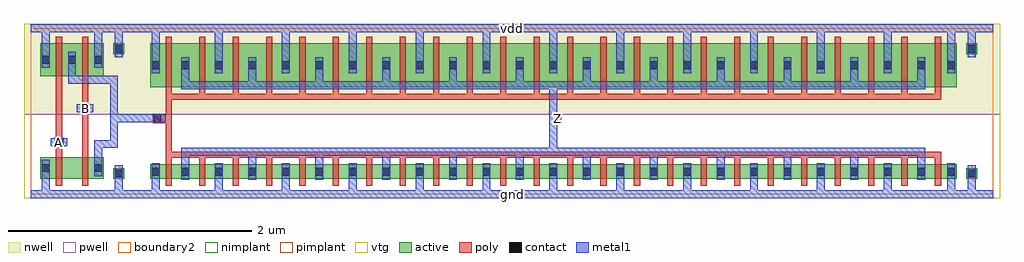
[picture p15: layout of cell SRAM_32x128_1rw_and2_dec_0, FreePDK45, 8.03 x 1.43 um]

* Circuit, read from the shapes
.subckt SRAM_32x128_1rw_and2_dec_0 A B Z gnd vdd
M1 SRAM_32x128_1rw_pnand2_0/SRAM_32x128_1rw_nmos_m1_w0_180_sm1_dactive_2/D A gnd gnd nfet w=0.18u l=0.05u
M2 SRAM_32x128_1rw_pinv_0_1/A B SRAM_32x128_1rw_pnand2_0/SRAM_32x128_1rw_nmos_m1_w0_180_sm1_dactive_2/D gnd nfet w=0.18u l=0.05u
M3 Z SRAM_32x128_1rw_pinv_0_1/A gnd gnd nfet w=0.12u l=0.05u m=24
M4 SRAM_32x128_1rw_pinv_0_1/A A vdd vdd pfet w=0.27u l=0.05u
M5 vdd B SRAM_32x128_1rw_pinv_0_1/A vdd pfet w=0.27u l=0.05u
M6 Z SRAM_32x128_1rw_pinv_0_1/A vdd vdd pfet w=0.36u l=0.05u m=24
.ends

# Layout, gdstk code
import gdstk
lib = gdstk.Library(unit=1e-6, precision=5e-10)
def R(c, l, rs):  # rectangles x0, y0, x1, y1
    for r in rs: c.add(gdstk.rectangle(r[:2], r[2:], *l))
def A(c, l, x, y, w, h, nx, ny, dx, dy):  # array of equal rectangles
    R(c, l, [(x+i*dx, y+j*dy, x+i*dx+w, y+j*dy+h) for i in range(nx) for j in range(ny)])
active = (1, 0)
pwell = (2, 0)
nwell = (3, 0)
nimplant = (4, 0)
pimplant = (5, 0)
vtg = (6, 0)
poly = (9, 0)
contact = (10, 0)
metal1 = (11, 0)
boundary2 = (239, 0)

sram_32x128_1rw_contact_ = lib.new_cell('SRAM_32x128_1rw_contact_11')
R(sram_32x128_1rw_contact_, active, [(0,0.0225,0.09,0.1125)])
R(sram_32x128_1rw_contact_, nwell, [(-0.055,-0.0325,0.145,0.1675)])
R(sram_32x128_1rw_contact_, pimplant, [(0,0.0225,0.09,0.1125)])
R(sram_32x128_1rw_contact_, contact, [(0.0125,0.035,0.0775,0.1)])
R(sram_32x128_1rw_contact_, metal1, [(0.0125,0,0.0775,0.135)])
R(sram_32x128_1rw_contact_, boundary2, [(-0.055,-0.0325,0.145,0.1675)])

sram_32x128_1rw_pmos_m1_ = lib.new_cell('SRAM_32x128_1rw_pmos_m1_w0_270_sm1_dm1')
R(sram_32x128_1rw_pmos_m1_, active, [(0,0,0.305,0.27)])
R(sram_32x128_1rw_pmos_m1_, nwell, [(-0.08,-0.08,0.385,0.35)])
R(sram_32x128_1rw_pmos_m1_, pimplant, [(0,0,0.305,0.27)])
R(sram_32x128_1rw_pmos_m1_, vtg, [(-0.08,-0.08,0.385,0.35)])
R(sram_32x128_1rw_pmos_m1_, poly, [(0.1275,-0.055,0.1775,0.325), (0.1275,-0.055,0.1775,0.325)])
R(sram_32x128_1rw_pmos_m1_, metal1, [(0.0125,0.0675,0.0775,0.2025), (0.2275,0.0675,0.2925,0.2025)])
R(sram_32x128_1rw_pmos_m1_, boundary2, [(-0.08,-0.08,0.385,0.35)])
sram_32x128_1rw_pmos_m1_.add(gdstk.Reference(sram_32x128_1rw_contact_, (0,0.0675)))
sram_32x128_1rw_pmos_m1_.add(gdstk.Reference(sram_32x128_1rw_contact_, (0.215,0.0675)))
sram_32x128_1rw_pmos_m1_.add(gdstk.Label('G', (0.1525,0.135), layer=9, texttype=0))
sram_32x128_1rw_pmos_m1_.add(gdstk.Label('S', (0.045,0.135), layer=11, texttype=0))
sram_32x128_1rw_pmos_m1_.add(gdstk.Label('D', (0.26,0.135), layer=11, texttype=0))

c_sram_32x128_1rw_contact_ = lib.new_cell('SRAM_32x128_1rw_contact_10')
R(c_sram_32x128_1rw_contact_, active, [(0,0.0225,0.09,0.1125)])
R(c_sram_32x128_1rw_contact_, pwell, [(-0.055,-0.0325,0.145,0.1675)])
R(c_sram_32x128_1rw_contact_, nimplant, [(0,0.0225,0.09,0.1125)])
R(c_sram_32x128_1rw_contact_, contact, [(0.0125,0.035,0.0775,0.1)])
R(c_sram_32x128_1rw_contact_, metal1, [(0.0125,0,0.0775,0.135)])
R(c_sram_32x128_1rw_contact_, boundary2, [(-0.055,-0.0325,0.145,0.1675)])

sram_32x128_1rw_nmos_m1_ = lib.new_cell('SRAM_32x128_1rw_nmos_m1_w0_180_sm1_dactive')
R(sram_32x128_1rw_nmos_m1_, active, [(0,0,0.305,0.18), (0.215,0.045,0.305,0.135)])
R(sram_32x128_1rw_nmos_m1_, pwell, [(-0.08,-0.08,0.385,0.26)])
R(sram_32x128_1rw_nmos_m1_, nimplant, [(0,0,0.305,0.18)])
R(sram_32x128_1rw_nmos_m1_, vtg, [(-0.08,-0.08,0.385,0.26)])
R(sram_32x128_1rw_nmos_m1_, poly, [(0.1275,-0.055,0.1775,0.235), (0.1275,-0.055,0.1775,0.235)])
R(sram_32x128_1rw_nmos_m1_, metal1, [(0.0125,0.0225,0.0775,0.1575)])
R(sram_32x128_1rw_nmos_m1_, boundary2, [(-0.08,-0.08,0.385,0.26)])
sram_32x128_1rw_nmos_m1_.add(gdstk.Reference(c_sram_32x128_1rw_contact_, (0,0.0225)))
sram_32x128_1rw_nmos_m1_.add(gdstk.Label('G', (0.1525,0.09), layer=9, texttype=0))
sram_32x128_1rw_nmos_m1_.add(gdstk.Label('S', (0.045,0.09), layer=11, texttype=0))
sram_32x128_1rw_nmos_m1_.add(gdstk.Label('D', (0.26,0.09), layer=1, texttype=0))

c_sram_32x128_1rw_nmos_m1_ = lib.new_cell('SRAM_32x128_1rw_nmos_m1_w0_180_sactive_dm1')
R(c_sram_32x128_1rw_nmos_m1_, active, [(0,0,0.305,0.18), (0,0.045,0.09,0.135)])
R(c_sram_32x128_1rw_nmos_m1_, pwell, [(-0.08,-0.08,0.385,0.26)])
R(c_sram_32x128_1rw_nmos_m1_, nimplant, [(0,0,0.305,0.18)])
R(c_sram_32x128_1rw_nmos_m1_, vtg, [(-0.08,-0.08,0.385,0.26)])
R(c_sram_32x128_1rw_nmos_m1_, poly, [(0.1275,-0.055,0.1775,0.235), (0.1275,-0.055,0.1775,0.235)])
R(c_sram_32x128_1rw_nmos_m1_, metal1, [(0.2275,0.0225,0.2925,0.1575)])
R(c_sram_32x128_1rw_nmos_m1_, boundary2, [(-0.08,-0.08,0.385,0.26)])
c_sram_32x128_1rw_nmos_m1_.add(gdstk.Reference(c_sram_32x128_1rw_contact_, (0.215,0.0225)))
c_sram_32x128_1rw_nmos_m1_.add(gdstk.Label('G', (0.1525,0.09), layer=9, texttype=0))
c_sram_32x128_1rw_nmos_m1_.add(gdstk.Label('S', (0.045,0.09), layer=1, texttype=0))
c_sram_32x128_1rw_nmos_m1_.add(gdstk.Label('D', (0.26,0.09), layer=11, texttype=0))

c_sram_32x128_1rw_contact__ = lib.new_cell('SRAM_32x128_1rw_contact_12')
R(c_sram_32x128_1rw_contact__, active, [(0,0.0225,0.09,0.1125)])
R(c_sram_32x128_1rw_contact__, nwell, [(-0.055,-0.0325,0.145,0.1675)])
R(c_sram_32x128_1rw_contact__, nimplant, [(0,0.0225,0.09,0.1125)])
R(c_sram_32x128_1rw_contact__, contact, [(0.0125,0.035,0.0775,0.1)])
R(c_sram_32x128_1rw_contact__, metal1, [(0.0125,0,0.0775,0.135)])
R(c_sram_32x128_1rw_contact__, boundary2, [(-0.055,-0.0325,0.145,0.1675)])

c_sram_32x128_1rw_contact___ = lib.new_cell('SRAM_32x128_1rw_contact_13')
R(c_sram_32x128_1rw_contact___, active, [(0,0.0225,0.09,0.1125)])
R(c_sram_32x128_1rw_contact___, pwell, [(-0.055,-0.0325,0.145,0.1675)])
R(c_sram_32x128_1rw_contact___, pimplant, [(0,0.0225,0.09,0.1125)])
R(c_sram_32x128_1rw_contact___, contact, [(0.0125,0.035,0.0775,0.1)])
R(c_sram_32x128_1rw_contact___, metal1, [(0.0125,0,0.0775,0.135)])
R(c_sram_32x128_1rw_contact___, boundary2, [(-0.055,-0.0325,0.145,0.1675)])

c_sram_32x128_1rw_contact____ = lib.new_cell('SRAM_32x128_1rw_contact_14')
R(c_sram_32x128_1rw_contact____, poly, [(0.03,0,0.105,0.075)])
R(c_sram_32x128_1rw_contact____, contact, [(0.035,0.005,0.1,0.07)])
R(c_sram_32x128_1rw_contact____, metal1, [(0,0.005,0.135,0.07)])
R(c_sram_32x128_1rw_contact____, boundary2, [(0,0,0.135,0.075)])

sram_32x128_1rw_pnand2 = lib.new_cell('SRAM_32x128_1rw_pnand2')
R(sram_32x128_1rw_pnand2, pwell, [(-0.055,-0.0325,0.9575,0.655)])
R(sram_32x128_1rw_pnand2, nwell, [(-0.055,0.655,0.9575,1.4)])
R(sram_32x128_1rw_pnand2, vtg, [(-0.055,-0.0325,0.9575,0.655), (-0.055,0.655,0.9575,1.4)])
R(sram_32x128_1rw_pnand2, poly, [(0.2075,0.36,0.2575,0.915), (0.4225,0.36,0.4725,0.915), (0.2075,0.39,0.2325,0.465), (0.4225,0.67,0.4475,0.745)])
R(sram_32x128_1rw_pnand2, metal1, [(0,-0.0325,0.9025,0.0325), (0.0925,-0.0325,0.1575,0.1475), (0.6925,0,0.7575,0.17), (0.5225,0.2825,0.5875,0.4125), (0.5225,0.38,0.5875,0.445), (0.555,0.38,0.685,0.445), (0.6525,0.38,0.7175,0.445), (0.165,0.395,0.3,0.46), (0.6525,0.4125,0.7175,0.94), (0.38,0.675,0.515,0.74), (0.3075,0.9075,0.3725,0.9725), (0.34,0.9075,0.685,0.9725), (0.6525,0.9075,0.7175,0.9725), (0.3075,0.94,0.3725,1.0375), (0.0925,1.0375,0.1575,1.3975), (0.5225,1.0375,0.5875,1.3975), (0.6925,1.195,0.7575,1.365), (0,1.3325,0.9025,1.3975)])
R(sram_32x128_1rw_pnand2, boundary2, [(0,0,0.9025,1.365), (0,0,0.9025,1.365)])
sram_32x128_1rw_pnand2.add(gdstk.Reference(sram_32x128_1rw_pmos_m1_, (0.08,0.97)))
sram_32x128_1rw_pnand2.add(gdstk.Reference(sram_32x128_1rw_pmos_m1_, (0.295,0.97)))
sram_32x128_1rw_pnand2.add(gdstk.Reference(sram_32x128_1rw_nmos_m1_, (0.08,0.125)))
sram_32x128_1rw_pnand2.add(gdstk.Reference(c_sram_32x128_1rw_nmos_m1_, (0.295,0.125)))
sram_32x128_1rw_pnand2.add(gdstk.Reference(c_sram_32x128_1rw_contact__, (0.68,1.1275)))
sram_32x128_1rw_pnand2.add(gdstk.Reference(c_sram_32x128_1rw_contact___, (0.68,0.1025)))
sram_32x128_1rw_pnand2.add(gdstk.Reference(c_sram_32x128_1rw_contact____, (0.165,0.39)))
sram_32x128_1rw_pnand2.add(gdstk.Reference(c_sram_32x128_1rw_contact____, (0.38,0.67)))
sram_32x128_1rw_pnand2.add(gdstk.Label('Z', (0.685,0.94), layer=11, texttype=0))
sram_32x128_1rw_pnand2.add(gdstk.Label('gnd', (0.451,0), layer=11, texttype=0))
sram_32x128_1rw_pnand2.add(gdstk.Label('vdd', (0.451,1.365), layer=11, texttype=0))
sram_32x128_1rw_pnand2.add(gdstk.Label('A', (0.2325,0.4275), layer=11, texttype=0))
sram_32x128_1rw_pnand2.add(gdstk.Label('B', (0.4475,0.7075), layer=11, texttype=0))

sram_32x128_1rw_pmos_m24 = lib.new_cell('SRAM_32x128_1rw_pmos_m24_w0_360_sm1_dm1_da_p')
R(sram_32x128_1rw_pmos_m24, active, [(0,0,6.63,0.36)])
R(sram_32x128_1rw_pmos_m24, nwell, [(-0.08,-0.08,6.71,0.44)])
R(sram_32x128_1rw_pmos_m24, pimplant, [(0,0,6.63,0.36)])
R(sram_32x128_1rw_pmos_m24, vtg, [(-0.08,-0.08,6.71,0.44)])
A(sram_32x128_1rw_pmos_m24, poly, 0.1275, -0.055, 0.05, 0.47, 24, 1, 0.275, 0)
R(sram_32x128_1rw_pmos_m24, poly, [(0.1275,-0.105,6.5025,-0.055)])
A(sram_32x128_1rw_pmos_m24, metal1, 0.2575, 0.015, 0.065, 0.165, 12, 1, 0.55, 0)
A(sram_32x128_1rw_pmos_m24, metal1, 0.5325, 0.1125, 0.065, 0.135, 11, 1, 0.55, 0)
R(sram_32x128_1rw_pmos_m24, metal1, [(0.2575,-0.0175,6.3725,0.0475), (0.0125,0.1125,0.0775,0.2475), (6.5525,0.1125,6.6175,0.2475)])
R(sram_32x128_1rw_pmos_m24, boundary2, [(-0.08,-0.105,6.71,0.44)])
sram_32x128_1rw_pmos_m24.add(gdstk.Reference(sram_32x128_1rw_contact_, (0,0.1125)))
sram_32x128_1rw_pmos_m24.add(gdstk.Reference(sram_32x128_1rw_contact_, (0.245,0.1125)))
sram_32x128_1rw_pmos_m24.add(gdstk.Reference(sram_32x128_1rw_contact_, (0.52,0.1125)))
sram_32x128_1rw_pmos_m24.add(gdstk.Reference(sram_32x128_1rw_contact_, (0.795,0.1125)))
sram_32x128_1rw_pmos_m24.add(gdstk.Reference(sram_32x128_1rw_contact_, (1.07,0.1125)))
sram_32x128_1rw_pmos_m24.add(gdstk.Reference(sram_32x128_1rw_contact_, (1.345,0.1125)))
sram_32x128_1rw_pmos_m24.add(gdstk.Reference(sram_32x128_1rw_contact_, (1.62,0.1125)))
sram_32x128_1rw_pmos_m24.add(gdstk.Reference(sram_32x128_1rw_contact_, (1.895,0.1125)))
sram_32x128_1rw_pmos_m24.add(gdstk.Reference(sram_32x128_1rw_contact_, (2.17,0.1125)))
sram_32x128_1rw_pmos_m24.add(gdstk.Reference(sram_32x128_1rw_contact_, (2.445,0.1125)))
sram_32x128_1rw_pmos_m24.add(gdstk.Reference(sram_32x128_1rw_contact_, (2.72,0.1125)))
sram_32x128_1rw_pmos_m24.add(gdstk.Reference(sram_32x128_1rw_contact_, (2.995,0.1125)))
sram_32x128_1rw_pmos_m24.add(gdstk.Reference(sram_32x128_1rw_contact_, (3.27,0.1125)))
sram_32x128_1rw_pmos_m24.add(gdstk.Reference(sram_32x128_1rw_contact_, (3.545,0.1125)))
sram_32x128_1rw_pmos_m24.add(gdstk.Reference(sram_32x128_1rw_contact_, (3.82,0.1125)))
sram_32x128_1rw_pmos_m24.add(gdstk.Reference(sram_32x128_1rw_contact_, (4.095,0.1125)))
sram_32x128_1rw_pmos_m24.add(gdstk.Reference(sram_32x128_1rw_contact_, (4.37,0.1125)))
sram_32x128_1rw_pmos_m24.add(gdstk.Reference(sram_32x128_1rw_contact_, (4.645,0.1125)))
sram_32x128_1rw_pmos_m24.add(gdstk.Reference(sram_32x128_1rw_contact_, (4.92,0.1125)))
sram_32x128_1rw_pmos_m24.add(gdstk.Reference(sram_32x128_1rw_contact_, (5.195,0.1125)))
sram_32x128_1rw_pmos_m24.add(gdstk.Reference(sram_32x128_1rw_contact_, (5.47,0.1125)))
sram_32x128_1rw_pmos_m24.add(gdstk.Reference(sram_32x128_1rw_contact_, (5.745,0.1125)))
sram_32x128_1rw_pmos_m24.add(gdstk.Reference(sram_32x128_1rw_contact_, (6.02,0.1125)))
sram_32x128_1rw_pmos_m24.add(gdstk.Reference(sram_32x128_1rw_contact_, (6.295,0.1125)))
sram_32x128_1rw_pmos_m24.add(gdstk.Reference(sram_32x128_1rw_contact_, (6.54,0.1125)))
sram_32x128_1rw_pmos_m24.add(gdstk.Label('G', (3.315,-0.08), layer=9, texttype=0))
sram_32x128_1rw_pmos_m24.add(gdstk.Label('S', (2.215,0.18), layer=11, texttype=0))
sram_32x128_1rw_pmos_m24.add(gdstk.Label('S', (4.965,0.18), layer=11, texttype=0))
sram_32x128_1rw_pmos_m24.add(gdstk.Label('S', (5.515,0.18), layer=11, texttype=0))
sram_32x128_1rw_pmos_m24.add(gdstk.Label('S', (6.585,0.18), layer=11, texttype=0))
sram_32x128_1rw_pmos_m24.add(gdstk.Label('S', (1.665,0.18), layer=11, texttype=0))
sram_32x128_1rw_pmos_m24.add(gdstk.Label('S', (6.065,0.18), layer=11, texttype=0))
sram_32x128_1rw_pmos_m24.add(gdstk.Label('S', (2.765,0.18), layer=11, texttype=0))
sram_32x128_1rw_pmos_m24.add(gdstk.Label('S', (3.865,0.18), layer=11, texttype=0))
sram_32x128_1rw_pmos_m24.add(gdstk.Label('S', (0.045,0.18), layer=11, texttype=0))
sram_32x128_1rw_pmos_m24.add(gdstk.Label('S', (4.415,0.18), layer=11, texttype=0))
sram_32x128_1rw_pmos_m24.add(gdstk.Label('S', (0.565,0.18), layer=11, texttype=0))
sram_32x128_1rw_pmos_m24.add(gdstk.Label('S', (3.315,0.18), layer=11, texttype=0))
sram_32x128_1rw_pmos_m24.add(gdstk.Label('S', (1.115,0.18), layer=11, texttype=0))
sram_32x128_1rw_pmos_m24.add(gdstk.Label('D', (3.315,0.015), layer=11, texttype=0))

sram_32x128_1rw_nmos_m24 = lib.new_cell('SRAM_32x128_1rw_nmos_m24_w0_120_sm1_dm1_da_p')
R(sram_32x128_1rw_nmos_m24, active, [(0,0,6.63,0.12)])
R(sram_32x128_1rw_nmos_m24, pwell, [(-0.08,-0.08,6.71,0.2)])
R(sram_32x128_1rw_nmos_m24, nimplant, [(0,0,6.63,0.12)])
R(sram_32x128_1rw_nmos_m24, vtg, [(-0.08,-0.08,6.71,0.2)])
A(sram_32x128_1rw_nmos_m24, poly, 0.1275, -0.055, 0.05, 0.23, 24, 1, 0.275, 0)
R(sram_32x128_1rw_nmos_m24, poly, [(0.1275,0.175,6.5025,0.225)])
A(sram_32x128_1rw_nmos_m24, metal1, 0.5325, -0.0075, 0.065, 0.135, 11, 1, 0.55, 0)
A(sram_32x128_1rw_nmos_m24, metal1, 0.2575, 0.06, 0.065, 0.165, 12, 1, 0.55, 0)
R(sram_32x128_1rw_nmos_m24, metal1, [(0.0125,-0.0075,0.0775,0.1275), (6.5525,-0.0075,6.6175,0.1275), (0.2575,0.1925,6.3725,0.2575)])
R(sram_32x128_1rw_nmos_m24, boundary2, [(-0.08,-0.08,6.71,0.2575)])
sram_32x128_1rw_nmos_m24.add(gdstk.Reference(c_sram_32x128_1rw_contact_, (0,-0.0075)))
sram_32x128_1rw_nmos_m24.add(gdstk.Reference(c_sram_32x128_1rw_contact_, (0.245,-0.0075)))
sram_32x128_1rw_nmos_m24.add(gdstk.Reference(c_sram_32x128_1rw_contact_, (0.52,-0.0075)))
sram_32x128_1rw_nmos_m24.add(gdstk.Reference(c_sram_32x128_1rw_contact_, (0.795,-0.0075)))
sram_32x128_1rw_nmos_m24.add(gdstk.Reference(c_sram_32x128_1rw_contact_, (1.07,-0.0075)))
sram_32x128_1rw_nmos_m24.add(gdstk.Reference(c_sram_32x128_1rw_contact_, (1.345,-0.0075)))
sram_32x128_1rw_nmos_m24.add(gdstk.Reference(c_sram_32x128_1rw_contact_, (1.62,-0.0075)))
sram_32x128_1rw_nmos_m24.add(gdstk.Reference(c_sram_32x128_1rw_contact_, (1.895,-0.0075)))
sram_32x128_1rw_nmos_m24.add(gdstk.Reference(c_sram_32x128_1rw_contact_, (2.17,-0.0075)))
sram_32x128_1rw_nmos_m24.add(gdstk.Reference(c_sram_32x128_1rw_contact_, (2.445,-0.0075)))
sram_32x128_1rw_nmos_m24.add(gdstk.Reference(c_sram_32x128_1rw_contact_, (2.72,-0.0075)))
sram_32x128_1rw_nmos_m24.add(gdstk.Reference(c_sram_32x128_1rw_contact_, (2.995,-0.0075)))
sram_32x128_1rw_nmos_m24.add(gdstk.Reference(c_sram_32x128_1rw_contact_, (3.27,-0.0075)))
sram_32x128_1rw_nmos_m24.add(gdstk.Reference(c_sram_32x128_1rw_contact_, (3.545,-0.0075)))
sram_32x128_1rw_nmos_m24.add(gdstk.Reference(c_sram_32x128_1rw_contact_, (3.82,-0.0075)))
sram_32x128_1rw_nmos_m24.add(gdstk.Reference(c_sram_32x128_1rw_contact_, (4.095,-0.0075)))
sram_32x128_1rw_nmos_m24.add(gdstk.Reference(c_sram_32x128_1rw_contact_, (4.37,-0.0075)))
sram_32x128_1rw_nmos_m24.add(gdstk.Reference(c_sram_32x128_1rw_contact_, (4.645,-0.0075)))
sram_32x128_1rw_nmos_m24.add(gdstk.Reference(c_sram_32x128_1rw_contact_, (4.92,-0.0075)))
sram_32x128_1rw_nmos_m24.add(gdstk.Reference(c_sram_32x128_1rw_contact_, (5.195,-0.0075)))
sram_32x128_1rw_nmos_m24.add(gdstk.Reference(c_sram_32x128_1rw_contact_, (5.47,-0.0075)))
sram_32x128_1rw_nmos_m24.add(gdstk.Reference(c_sram_32x128_1rw_contact_, (5.745,-0.0075)))
sram_32x128_1rw_nmos_m24.add(gdstk.Reference(c_sram_32x128_1rw_contact_, (6.02,-0.0075)))
sram_32x128_1rw_nmos_m24.add(gdstk.Reference(c_sram_32x128_1rw_contact_, (6.295,-0.0075)))
sram_32x128_1rw_nmos_m24.add(gdstk.Reference(c_sram_32x128_1rw_contact_, (6.54,-0.0075)))
sram_32x128_1rw_nmos_m24.add(gdstk.Label('G', (3.315,0.2), layer=9, texttype=0))
sram_32x128_1rw_nmos_m24.add(gdstk.Label('S', (6.065,0.06), layer=11, texttype=0))
sram_32x128_1rw_nmos_m24.add(gdstk.Label('S', (2.765,0.06), layer=11, texttype=0))
sram_32x128_1rw_nmos_m24.add(gdstk.Label('S', (0.565,0.06), layer=11, texttype=0))
sram_32x128_1rw_nmos_m24.add(gdstk.Label('S', (2.215,0.06), layer=11, texttype=0))
sram_32x128_1rw_nmos_m24.add(gdstk.Label('S', (4.965,0.06), layer=11, texttype=0))
sram_32x128_1rw_nmos_m24.add(gdstk.Label('S', (3.865,0.06), layer=11, texttype=0))
sram_32x128_1rw_nmos_m24.add(gdstk.Label('S', (0.045,0.06), layer=11, texttype=0))
sram_32x128_1rw_nmos_m24.add(gdstk.Label('S', (3.315,0.06), layer=11, texttype=0))
sram_32x128_1rw_nmos_m24.add(gdstk.Label('S', (5.515,0.06), layer=11, texttype=0))
sram_32x128_1rw_nmos_m24.add(gdstk.Label('S', (6.585,0.06), layer=11, texttype=0))
sram_32x128_1rw_nmos_m24.add(gdstk.Label('S', (1.115,0.06), layer=11, texttype=0))
sram_32x128_1rw_nmos_m24.add(gdstk.Label('S', (4.415,0.06), layer=11, texttype=0))
sram_32x128_1rw_nmos_m24.add(gdstk.Label('S', (1.665,0.06), layer=11, texttype=0))
sram_32x128_1rw_nmos_m24.add(gdstk.Label('D', (3.315,0.225), layer=11, texttype=0))

sram_32x128_1rw_pinv_0 = lib.new_cell('SRAM_32x128_1rw_pinv_0')
R(sram_32x128_1rw_pinv_0, pwell, [(-0.055,-0.0325,7.0675,0.655)])
R(sram_32x128_1rw_pinv_0, nwell, [(-0.055,0.655,7.0675,1.4)])
R(sram_32x128_1rw_pinv_0, vtg, [(-0.055,-0.0325,7.0675,0.655), (-0.055,0.655,7.0675,1.4)])
R(sram_32x128_1rw_pinv_0, poly, [(0.2075,0.35,0.2575,0.775), (0.14,0.585,0.2075,0.66)])
A(sram_32x128_1rw_pinv_0, metal1, 0.6125, -0.0325, 0.065, 0.15, 11, 1, 0.55, 0)
A(sram_32x128_1rw_pinv_0, metal1, 0.6125, 0.9925, 0.065, 0.405, 11, 1, 0.55, 0)
R(sram_32x128_1rw_pinv_0, metal1, [(0,-0.0325,7.0125,0.0325), (0.0925,-0.0325,0.1575,0.1175), (6.6325,-0.0325,6.6975,0.1175), (6.8025,0,6.8675,0.17), (3.3625,0.3175,3.4275,0.9275), (0.0725,0.59,0.2075,0.655), (3.395,0.59,3.46,0.655), (0.0925,0.9925,0.1575,1.3975), (6.6325,0.9925,6.6975,1.3975), (6.8025,1.195,6.8675,1.365), (0,1.3325,7.0125,1.3975)])
R(sram_32x128_1rw_pinv_0, boundary2, [(0,0,7.0125,1.365), (0,0,7.0125,1.365)])
sram_32x128_1rw_pinv_0.add(gdstk.Reference(sram_32x128_1rw_pmos_m24, (0.08,0.88)))
sram_32x128_1rw_pinv_0.add(gdstk.Reference(sram_32x128_1rw_nmos_m24, (0.08,0.125)))
sram_32x128_1rw_pinv_0.add(gdstk.Reference(c_sram_32x128_1rw_contact__, (6.79,1.1275)))
sram_32x128_1rw_pinv_0.add(gdstk.Reference(c_sram_32x128_1rw_contact___, (6.79,0.1025)))
sram_32x128_1rw_pinv_0.add(gdstk.Reference(c_sram_32x128_1rw_contact____, (0.0725,0.585)))
sram_32x128_1rw_pinv_0.add(gdstk.Label('A', (0.14,0.6225), layer=11, texttype=0))
sram_32x128_1rw_pinv_0.add(gdstk.Label('Z', (3.4275,0.6225), layer=11, texttype=0))
sram_32x128_1rw_pinv_0.add(gdstk.Label('gnd', (3.506,0), layer=11, texttype=0))
sram_32x128_1rw_pinv_0.add(gdstk.Label('vdd', (3.506,1.365), layer=11, texttype=0))

sram_32x128_1rw_and2_dec = lib.new_cell('SRAM_32x128_1rw_and2_dec_0')
R(sram_32x128_1rw_and2_dec, metal1, [(0,-0.0325,7.915,0.0325), (0.165,0.395,0.3,0.46), (0.6525,0.59,0.7175,0.655), (0.685,0.59,1.0425,0.655), (4.2975,0.59,4.3625,0.655), (0.6525,0.6225,0.7175,0.94), (0.38,0.675,0.515,0.74), (0,1.3325,7.915,1.3975)])
R(sram_32x128_1rw_and2_dec, boundary2, [(0,0,7.915,1.365)])
sram_32x128_1rw_and2_dec.add(gdstk.Reference(sram_32x128_1rw_pnand2, (0,0)))
sram_32x128_1rw_and2_dec.add(gdstk.Reference(sram_32x128_1rw_pinv_0, (0.9025,0)))
sram_32x128_1rw_and2_dec.add(gdstk.Label('Z', (4.33,0.6225), layer=11, texttype=0))
sram_32x128_1rw_and2_dec.add(gdstk.Label('A', (0.2325,0.4275), layer=11, texttype=0))
sram_32x128_1rw_and2_dec.add(gdstk.Label('B', (0.4475,0.7075), layer=11, texttype=0))
sram_32x128_1rw_and2_dec.add(gdstk.Label('gnd', (3.9575,0), layer=11, texttype=0))
sram_32x128_1rw_and2_dec.add(gdstk.Label('vdd', (3.9575,1.365), layer=11, texttype=0))

lib.write_gds('SRAM_32x128_1rw_and2_dec_0.gds')
